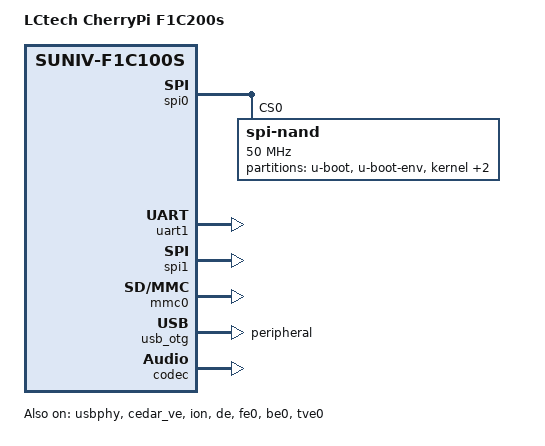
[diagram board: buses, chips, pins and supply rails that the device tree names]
// SPDX-License-Identifier: (GPL-2.0+ OR X11)

/dts-v1/;
#include "suniv-f1c100s-linux.dtsi"

/ {
	model = "LCtech CherryPi F1C200s";
	compatible = "lctech,cherrypi-f1c200s", "allwinner,suniv-f1c200s",
		     "allwinner,suniv-f1c100s";

	chosen {
		#address-cells = <1>;
		#size-cells = <1>;
		ranges;

		/* default nand partition layout */
		bootargs = "console=ttyS0,115200 earlycon=uart8250,mmio,0x1c25400 earlyprintk rootwait init=/preinit root=/dev/mtdblock3 rootfstype=squashfs overlayfsdev=/dev/mtdblock4";
		/* my ubi partition layout */
		//bootargs = "console=ttyS0,115200 earlycon=uart8250,mmio,0x1c25400 earlyprintk rootwait init=/preinit root=/dev/ubi0_rootfs rootfstype=ubifs";
	};
};

&spi0 {
	status = "okay";

	spi-nand@0 {
		#address-cells = <1>;
		#size-cells = <1>;
		compatible = "spi-nand";
		reg = <0>;
		spi-max-frequency = <50000000>;

		/* my nand UBI layout for later */
		/* partitions {
			compatible = "fixed-partitions";
			#address-cells = <1>;
			#size-cells = <1>;

			partition@0 {
				label = "u-boot";
				reg = <0x0 0xf0000>;
				read-only;
			};

			partition@1 {
				label = "u-boot-env";
				reg = <0xf0000 0x10000>;
			};

			partition@2 {
				label = "kernel";
				reg = <0x100000 0x700000>;
			};

			partition@3 {
				label = "ubi";
				reg = <0x800000 0x7800000>;
			};
		}; */

		partitions {
			compatible = "fixed-partitions";
			#address-cells = <1>;
			#size-cells = <1>;

			partition@0 {
				label = "u-boot";
				reg = <0x0 0xf0000>;
				read-only;
			};

			partition@1 {
				label = "u-boot-env";
				reg = <0xf0000 0x10000>;
			};

			partition@2 {
				label = "kernel";
				reg = <0x100000 0x700000>;
				read-only;
			};

			partition@3 {
				label = "rootfs";
				reg = <0x800000 0x2800000>;
				read-only;
			};

			partition@4 {
				label = "overlay";
				reg = <0x4000000 0x5000000>;
			};
		};
	};
};

&uart1 {
	pinctrl-names = "default";
	pinctrl-0 = <&uart1_pa_pins>;
	status = "okay";
};

&spi1 {
	pinctrl-names = "default";
	pinctrl-0 = <&spi1_pins>;
	status = "okay";
};

&mmc0 {
	status = "okay";
	broken-cd;
};

&otg_sram {
	status = "okay";
};

&usb_otg {
	dr_mode = "peripheral"; /* no vbus detection on this board >:( */
	status = "okay";
};

&usbphy {
	status = "okay";
};

&cedar_ve {
	status = "okay";
};

&ion {
	status = "okay";
};

&de {
	status = "okay";
};

&fe0 {
	status = "okay";
};

&be0 {
	status = "okay";
};

&tve0 {
	status = "okay";
};

&codec {
	allwinner,audio-routing =
		"Headphone", "HP",
		"Headphone", "HPCOM",
		"LINEIN", "Line In",
		"FMINL", "Left FM In",
		"FMINR", "Right FM In",
		"MIC", "Mic";
	status = "okay";
};

&i2c0 {
	pinctrl-names = "default";
	pinctrl-0 = <&i2c0_pd_pins>;
	status = "disabled";

	rtp@48 {
		compatible = "ti,tsc2007";
		reg = <0x48>;
		interrupt-parent = <&pio>;
		interrupts = <4 12 IRQ_TYPE_EDGE_FALLING>;
		gpios = <&pio 4 12 GPIO_ACTIVE_LOW>;
		pendown-gpio = <&pio 4 12 GPIO_ACTIVE_LOW>;
		ti,x-plate-ohms = <660>;
		wakeup-source;
	};
};
